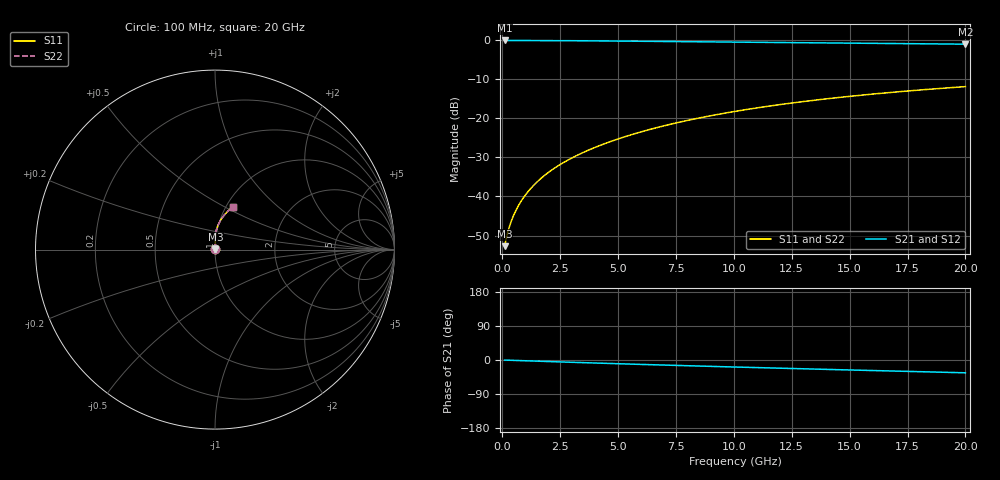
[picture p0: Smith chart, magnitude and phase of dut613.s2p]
! Touchstone file exported from HFSS 2024.1.0
!  File:  C:/UserFiles/LocalFiles/RDL_TSV_Batchsim/temp_RDL_bottom_613_1779783709.aedt
!  Generated:  04:24:40 PM May 26, 2026
!  Design:  RDL_bottom
!  Project:  temp_RDL_bottom_613_1779783709
!  Setup:  Setup1
!  Solution:  Sweep
! Variables:
!  dtsv = 10.80580581um
!  hbump = 3um
!  htsv = 93.73um
!  ldown = 520.82um
!  lrdl = 100um
!  p = 40
!  p1 = 45.05um
!  rhole = 1um
!  t = 450um
!  tdown = 4.08um
!  trdl = 3.915915916um
!  wdown = 26.1um
!  wrdl = 20um
# GHz S MA R 50.000000
! Terminal data exported
! Port[1] = RDL1_T1
! Port[2] = RDL1_T2
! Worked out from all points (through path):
!   200 points, 100 MHz to 20 GHz, reference 50 ohm
!   highest |S21| = -0.02 dB at 100 MHz (marker M1); lowest = -1.0 dB at 20 GHz (marker M2)
!   group delay of S21, straight-line fit = 4.63 ps
!   lowest |S11| = -52.7 dB at 100 MHz (marker M3), VSWR 1.00, Z = 50.2 + j0.122 ohm
!   |S11| at or under -10 dB: start of sweep to end of sweep
!   |S22| runs from -52.7 to -11.8 dB; largest |S21 - S12| = 2.8e-15
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0.1  0.00231 31.8  0.998 -0.2  0.998 -0.2  0.00231 31.8
! Gamma 0 0 0 0
! Port Impedance 50 0 50 0
0.2  0.00315 47.9  0.9978 -0.4  0.9978 -0.4  0.00315 47.9
0.3  0.00405 56.3  0.9977 -0.6  0.9977 -0.6  0.00405 56.3
0.4  0.004944 61.7  0.9975 -0.8  0.9975 -0.8  0.004944 61.7
0.5  0.005838 65.7  0.9973 -1.0  0.9973 -1.0  0.005838 65.7
0.6  0.006741 68.8  0.9972 -1.2  0.9972 -1.2  0.006741 68.8
0.8  0.008584 73.4  0.9969 -1.7  0.9969 -1.7  0.008584 73.4
1  0.01047 76.6  0.9966 -2.1  0.9966 -2.1  0.01047 76.6
1.2  0.0124 79.0  0.9962 -2.5  0.9962 -2.5  0.0124 79.0
1.7  0.01737 82.9  0.9951 -3.5  0.9951 -3.5  0.01737 82.9
2.2  0.02251 85.3  0.9936 -4.5  0.9936 -4.5  0.02251 85.3
2.8  0.02892 87.1  0.9913 -5.7  0.9913 -5.7  0.02892 87.1
3.5  0.03672 88.4  0.9883 -7.0  0.9883 -7.0  0.03672 88.4
4.2  0.04488 89.1  0.9848 -8.4  0.9848 -8.4  0.04488 89.1
5  0.05463 89.4  0.9805 -9.9  0.9805 -9.9  0.05463 89.4
6.8  0.078 88.6  0.9699 -13.1  0.9699 -13.1  0.078 88.6
8.4  0.09995 86.8  0.9601 -15.8  0.9601 -15.8  0.09995 86.8
10.1  0.1238 84.3  0.9499 -18.6  0.9499 -18.6  0.1238 84.3
11.7  0.1464 81.7  0.9405 -21.2  0.9405 -21.2  0.1464 81.7
13.4  0.1701 78.7  0.9307 -23.9  0.9307 -23.9  0.1701 78.7
16.7  0.2144 72.9  0.9123 -28.9  0.9123 -28.9  0.2144 72.9
20  0.2557 67.3  0.8944 -33.8  0.8944 -33.8  0.2556 67.2
